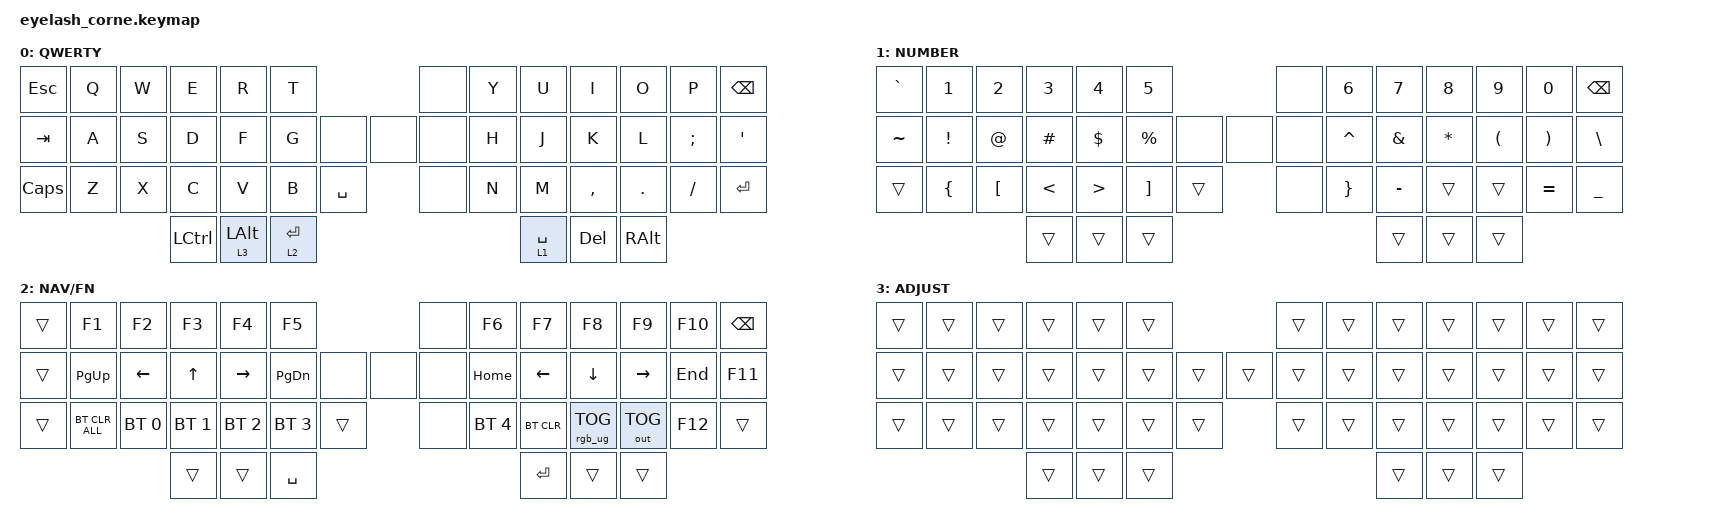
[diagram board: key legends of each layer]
#include <behaviors.dtsi>
#include <dt-bindings/zmk/bt.h>
#include <dt-bindings/zmk/keys.h>
#include <dt-bindings/zmk/outputs.h>
#include <dt-bindings/zmk/rgb.h>

/ {
    keymap {
        compatible = "zmk,keymap";

        default_layer {
            display-name = "QWERTY";
            bindings = <
&kp ESCAPE     &kp Q  &kp W  &kp E  &kp R  &kp T                     &none         &kp Y  &kp U      &kp I      &kp O    &kp P     &kp BSPC
&kp TAB        &kp A  &kp S  &kp D  &kp F  &kp G       &none  &none  &none         &kp H  &kp J      &kp K      &kp L    &kp SEMI  &kp SQT
&kp CAPSLOCK   &kp Z  &kp X  &kp C  &kp V  &kp B  &kp SPACE           &none         &kp N  &kp M      &kp COMMA  &kp DOT  &kp FSLH  &kp ENTER
                             &kp LEFT_CONTROL  &lt 3 LEFT_ALT  &lt 2 ENTER                 &lt 1 SPACE  &kp DEL    &kp RALT
            >;
        };

        lower_layer {
            display-name = "NUMBER";
            bindings = <
&kp GRAVE      &kp N1  &kp N2  &kp N3  &kp N4  &kp N5                     &none         &kp N6  &kp N7  &kp N8         &kp N9    &kp N0     &kp BSPC
&kp TILDE      &kp EXCL  &kp AT  &kp HASH  &kp DLLR  &kp PRCNT   &none  &none  &none    &kp CARET  &kp AMPS  &kp ASTRK  &kp LPAR  &kp RPAR  &kp BACKSLASH
&trans         &kp LBRC  &kp LEFT_BRACKET  &kp LESS_THAN  &kp GREATER_THAN  &kp RIGHT_BRACKET  &trans  &none  &kp RBRC  &kp MINUS  &trans     &trans    &kp EQUAL  &kp UNDER
                                &trans  &trans  &trans                                     &trans     &trans     &trans
            >;
        };

        raise_layer {
            display-name = "NAV/FN";
            bindings = <
&trans  &kp F1         &kp F2          &kp F3          &kp F4           &kp F5                &none         &kp F6  &kp F7  &kp F8   &kp F9   &kp F10  &kp BSPC
&trans  &kp PAGE_UP    &kp LEFT_ARROW  &kp UP_ARROW    &kp RIGHT_ARROW  &kp PAGE_DOWN  &none  &none  &none  &kp HOME  &kp LEFT  &kp DOWN  &kp RIGHT  &kp END  &kp F11
&trans  &bt BT_CLR_ALL &bt BT_SEL 0    &bt BT_SEL 1    &bt BT_SEL 2     &bt BT_SEL 3   &trans        &none  &bt BT_SEL 4  &bt BT_CLR  &rgb_ug RGB_TOG  &out OUT_TOG  &kp F12  &trans
                                       &trans          &trans          &kp SPACE                             &kp RET  &trans  &trans
            >;
        };

        // Example: zmk-companion's Canvas pages can be jumped to directly
        // with Ctrl+Alt+Shift+Win+1-9 (page 1-9), a global hotkey registered
        // by the app itself, see docs/user_guide.md "Jumping to a page on
        // demand". An earlier version of this used bare F13-F21 instead,
        // reverted after confirming on real hardware that those never reach
        // Windows at all here (a ZMK/Zephyr HID report descriptor limit, not
        // fixable from the keymap). Four modifiers together is rare enough
        // in everyday shortcuts to stay a safe, low-collision choice, and
        // it's a standard keycode range that's guaranteed to actually work.
        // Swap a &trans below for one of these to wire up a key, e.g.:
        //   &kp LC(LA(LS(LG(N1))))   -> jump to page 1
        //   &kp LC(LA(LS(LG(N2))))   -> jump to page 2
        //   ...
        //   &kp LC(LA(LS(LG(N9))))   -> jump to page 9
        adjust_layer {
            display-name = "ADJUST";
            bindings = <
&trans  &trans  &trans  &trans  &trans  &trans                    &trans  &trans  &trans  &trans  &trans  &trans  &trans
&trans  &trans  &trans  &trans  &trans  &trans      &trans  &trans  &trans  &trans  &trans  &trans  &trans  &trans  &trans
&trans  &trans  &trans  &trans  &trans  &trans  &trans        &trans  &trans  &trans  &trans  &trans  &trans  &trans
                        &trans  &trans  &trans                        &trans  &trans  &trans
            >;
        };
    };
};
